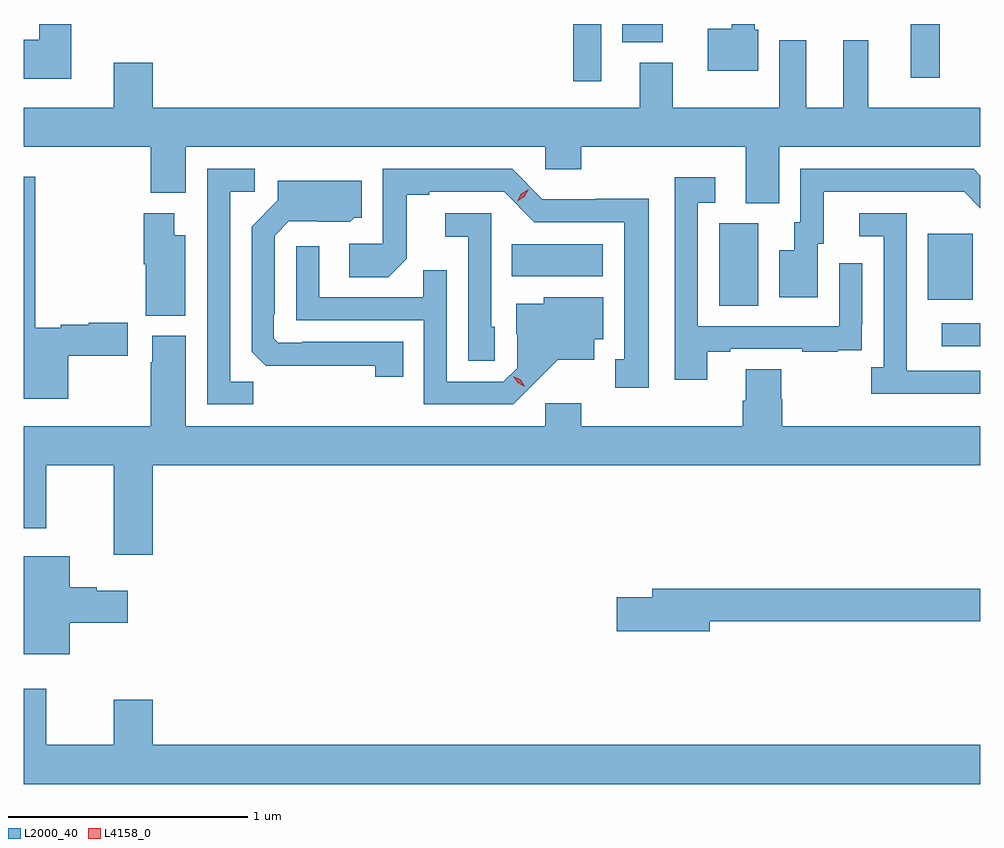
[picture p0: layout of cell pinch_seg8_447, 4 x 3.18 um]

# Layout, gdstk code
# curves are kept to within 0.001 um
import gdstk
lib = gdstk.Library(unit=1e-6, precision=1e-09)
def R(c, l, rs):  # rectangles x0, y0, x1, y1
    for r in rs: c.add(gdstk.rectangle(r[:2], r[2:], *l))
def P(c, l, *ps):  # polygons
    for p in ps: c.add(gdstk.Polygon(p, *l))
L2000_40 = (2000, 40)
L4158_0 = (4158, 0)

pinch_seg8_447 = lib.new_cell('pinch_seg8_447')
R(pinch_seg8_447, L2000_40, [(204.435,1146.303,204.596,1146.399), (203.504,1146.472,203.668,1146.816), (204.377,1146.497,204.565,1146.772), (202.636,1146.596,203.017,1146.73), (202.894,1147.41,203.01,1147.65), (204.305,1147.425,204.427,1147.65), (203.099,1147.574,203.269,1147.65)])
P(pinch_seg8_447, L2000_40, [(203.668,1147.626),(203.652,1147.626),(203.652,1147.65),(203.556,1147.65),(203.556,1147.63),(203.456,1147.63),(203.456,1147.454),(203.668,1147.454)],
  [(200.795,1147.65),(200.66,1147.65),(200.66,1147.585),(200.596,1147.585),(200.596,1147.421),(200.795,1147.421)],
  [(203.755,1147.136),(204.596,1147.136),(204.596,1147.3),(204.127,1147.3),(204.127,1147.582),(204.023,1147.582),(204.023,1147.3),(203.869,1147.3),(203.869,1147.582),(203.756,1147.582),(203.756,1147.3),(203.311,1147.3),(203.311,1147.489),(203.171,1147.489),(203.171,1147.3),(201.136,1147.3),(201.136,1147.489),(200.972,1147.489),(200.972,1147.3),(200.596,1147.3),(200.596,1147.136),(201.127,1147.136),(201.127,1146.944),(201.274,1146.944),(201.274,1147.136),(202.776,1147.136),(202.776,1147.043),(202.928,1147.043),(202.928,1147.136),(203.615,1147.136),(203.615,1146.901),(203.755,1146.901)],
  [(201.555,1146.155),(201.459,1146.155),(201.459,1146.948),(201.562,1146.948),(201.562,1147.044),(201.363,1147.044),(201.363,1146.06),(201.555,1146.06)],
  [(203.917,1146.732),(203.941,1146.732),(203.941,1146.948),(204.529,1146.948),(204.596,1146.88),(204.596,1147.016),(204.568,1147.044),(203.844,1147.044),(203.844,1146.822),(203.819,1146.822),(203.819,1146.703),(203.756,1146.703),(203.756,1146.507),(203.917,1146.507)],
  [(203.209,1146.92),(202.986,1146.92),(202.986,1146.918),(202.764,1146.918),(202.638,1147.044),(202.098,1147.044),(202.098,1146.732),(201.957,1146.732),(201.957,1146.592),(202.121,1146.592),(202.197,1146.668),(202.197,1146.936),(202.291,1146.936),(202.291,1146.948),(202.605,1146.948),(202.731,1146.822),(203.108,1146.822),(203.108,1146.249),(203.069,1146.249),(203.069,1146.129),(203.209,1146.129)],
  [(200.782,1146.262),(201.031,1146.262),(201.031,1146.401),(200.868,1146.401),(200.868,1146.392),(200.75,1146.392),(200.75,1146.379),(200.645,1146.379),(200.645,1147.012),(200.596,1147.012),(200.596,1146.083),(200.782,1146.083)],
  [(203.455,1146.279),(203.551,1146.279),(203.551,1146.291),(203.851,1146.291),(203.851,1146.279),(203.999,1146.279),(203.999,1146.285),(204.101,1146.285),(204.101,1146.394),(204.102,1146.394),(204.102,1146.649),(204.006,1146.649),(204.006,1146.387),(203.415,1146.387),(203.415,1146.903),(203.488,1146.903),(203.488,1147.009),(203.319,1147.009),(203.319,1146.162),(203.455,1146.162)],
  [(202.184,1146.321),(201.76,1146.321),(201.76,1146.318),(201.66,1146.318),(201.642,1146.336),(201.642,1146.436),(201.645,1146.436),(201.645,1146.765),(201.705,1146.825),(201.962,1146.824),(201.978,1146.84),(202.009,1146.84),(202.009,1146.994),(201.659,1146.994),(201.659,1146.912),(201.549,1146.802),(201.549,1146.28),(201.608,1146.221),(202.066,1146.22),(202.066,1146.174),(202.184,1146.174)],
  [(201.271,1146.766),(201.226,1146.766),(201.226,1146.859),(201.097,1146.859),(201.097,1146.645),(201.106,1146.645),(201.106,1146.431),(201.271,1146.431)],
  [(204.596,1146.201),(204.289,1146.201),(204.289,1146.401),(204.288,1146.401),(204.288,1146.858),(204.09,1146.858),(204.09,1146.762),(204.192,1146.762),(204.192,1146.214),(204.141,1146.214),(204.141,1146.104),(204.596,1146.104)],
  [(202.566,1146.384),(202.551,1146.384),(202.551,1146.858),(202.359,1146.858),(202.359,1146.761),(202.455,1146.761),(202.455,1146.241),(202.566,1146.241)],
  [(202.726,1146.143),(202.829,1146.245),(202.981,1146.245),(202.981,1146.332),(203.02,1146.332),(203.02,1146.508),(202.77,1146.508),(202.77,1146.481),(202.655,1146.481),(202.655,1146.352),(202.659,1146.352),(202.659,1146.21),(202.602,1146.153),(202.365,1146.153),(202.365,1146.62),(202.267,1146.62),(202.267,1146.507),(201.831,1146.507),(201.831,1146.721),(201.735,1146.721),(201.735,1146.411),(202.269,1146.411),(202.269,1146.06),(202.642,1146.06)],
  [(200.596,1145.541),(200.69,1145.541),(200.69,1145.804),(200.972,1145.804),(200.972,1145.43),(201.136,1145.43),(201.136,1145.804),(204.596,1145.804),(204.596,1145.968),(203.768,1145.968),(203.768,1146.081),(203.763,1146.081),(203.763,1146.206),(203.615,1146.206),(203.615,1146.074),(203.603,1146.074),(203.603,1145.968),(202.928,1145.968),(202.928,1146.064),(202.776,1146.064),(202.776,1145.968),(201.274,1145.968),(201.274,1146.346),(201.134,1146.346),(201.134,1146.236),(201.127,1146.236),(201.127,1145.968),(200.596,1145.968)],
  [(200.788,1145.147),(201.031,1145.147),(201.031,1145.281),(200.901,1145.281),(200.901,1145.294),(200.788,1145.294),(200.788,1145.425),(200.596,1145.425),(200.596,1145.015),(200.788,1145.015)],
  [(203.464,1145.152),(204.596,1145.152),(204.596,1145.288),(203.225,1145.288),(203.225,1145.252),(203.076,1145.252),(203.076,1145.11),(203.464,1145.11)],
  [(204.596,1144.636),(201.136,1144.636),(201.136,1144.825),(200.972,1144.825),(200.972,1144.636),(200.69,1144.636),(200.69,1144.87),(200.596,1144.87),(200.596,1144.472),(204.596,1144.472)])
P(pinch_seg8_447, L4158_0, [(202.692,1146.134),(202.661,1146.149),(202.644,1146.178),(202.644,1146.178),(202.644,1146.178),(202.675,1146.163),(202.692,1146.134),(202.692,1146.134)],
  [(202.659,1146.908),(202.659,1146.908),(202.676,1146.941),(202.707,1146.96),(202.707,1146.96),(202.707,1146.96),(202.69,1146.927),(202.659,1146.908)])

lib.write_gds('pinch_seg8_447.gds')
